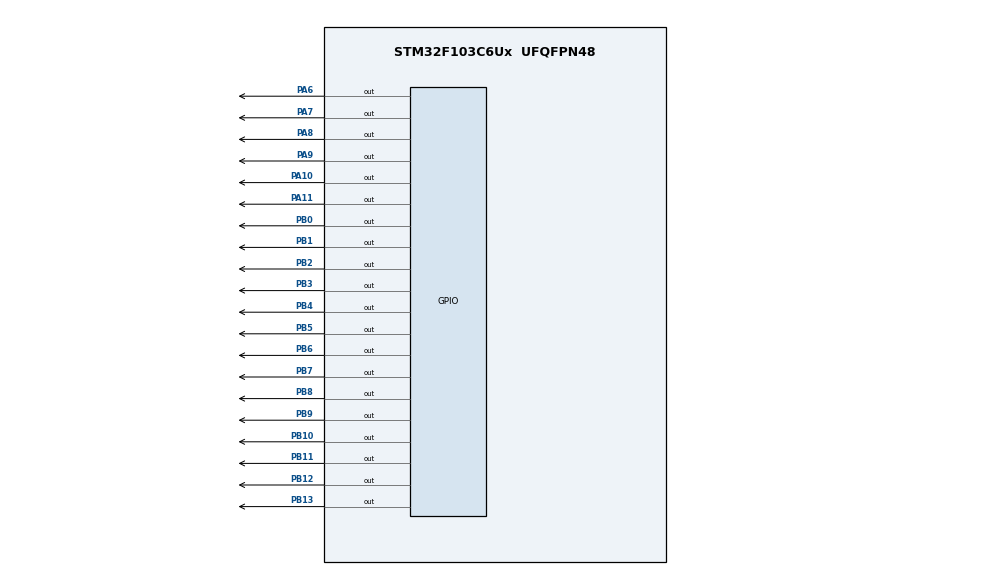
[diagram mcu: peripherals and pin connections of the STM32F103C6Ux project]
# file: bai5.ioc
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Mcu.Family=STM32F1
Mcu.Name=STM32F103C6Ux
Mcu.Package=UFQFPN48
NVIC.PriorityGroup=NVIC_PRIORITYGROUP_4
PA10.Signal=GPIO_Output
PA11.Signal=GPIO_Output
PA6.Signal=GPIO_Output
PA7.Signal=GPIO_Output
PA8.Signal=GPIO_Output
PA9.Signal=GPIO_Output
PB0.Signal=GPIO_Output
PB1.Signal=GPIO_Output
PB10.Signal=GPIO_Output
PB11.Signal=GPIO_Output
PB12.Signal=GPIO_Output
PB13.Signal=GPIO_Output
PB2.Signal=GPIO_Output
PB3.Signal=GPIO_Output
PB4.Signal=GPIO_Output
PB5.Signal=GPIO_Output
PB6.Signal=GPIO_Output
PB7.Signal=GPIO_Output
PB8.Signal=GPIO_Output
PB9.Signal=GPIO_Output
ProjectManager.HeapSize=0x200
ProjectManager.StackSize=0x400
ProjectManager.TargetToolchain=STM32CubeIDE
RCC.APB1Freq_Value=8000000
RCC.APB2Freq_Value=8000000
VP_SYS_VS_ND.Mode=No_Debug
board=custom

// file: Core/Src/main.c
/* USER CODE BEGIN Header */
/**
  ******************************************************************************
  * @file           : main.c
  * @brief          : Main program body
  ******************************************************************************
  * @attention

  *
  * <h2><center>&copy; Copyright (c) 2024 STMicroelectronics.
  * All rights reserved.</center></h2>
  *
  * This software component is licensed by ST under BSD 3-Clause license,
  * the "License"; You may not use this file except in compliance with the
  * License. You may obtain a copy of the License at:
  *                        opensource.org/licenses/BSD-3-Clause
  *
  ******************************************************************************
  */
/* USER CODE END Header */
#include "main.h"

void SystemClock_Config(void);
static void MX_GPIO_Init(void);

int countRed = 5, countYellow = 2, countGreen = 3 , huong = 1;
 void display7SEG_ngang(int num)
 {
	  if(num == 0)
	  {
		  HAL_GPIO_WritePin(GPIOB, GPIO_PIN_0, 0);
		  HAL_GPIO_WritePin(GPIOB, GPIO_PIN_1, 0);
		  HAL_GPIO_WritePin(GPIOB, GPIO_PIN_2, 0);
		  HAL_GPIO_WritePin(GPIOB, GPIO_PIN_3, 0);
		  HAL_GPIO_WritePin(GPIOB, GPIO_PIN_4, 0);
		  HAL_GPIO_WritePin(GPIOB, GPIO_PIN_5, 0);
		  HAL_GPIO_WritePin(GPIOB, GPIO_PIN_6, 1);
	  }
	  if(num == 1)
	  {
		  HAL_GPIO_WritePin(GPIOB, GPIO_PIN_0, 1);
		  HAL_GPIO_WritePin(GPIOB, GPIO_PIN_1, 0);
		  HAL_GPIO_WritePin(GPIOB, GPIO_PIN_2, 0);
		  HAL_GPIO_WritePin(GPIOB, GPIO_PIN_3, 1);
		  HAL_GPIO_WritePin(GPIOB, GPIO_PIN_4, 1);
		  HAL_GPIO_WritePin(GPIOB, GPIO_PIN_5, 1);
		  HAL_GPIO_WritePin(GPIOB, GPIO_PIN_6, 1);
	  }
	  if(num == 2)
	  	  {
	  		  HAL_GPIO_WritePin(GPIOB, GPIO_PIN_0, 0);
	  		  HAL_GPIO_WritePin(GPIOB, GPIO_PIN_1, 0);
	  		  HAL_GPIO_WritePin(GPIOB, GPIO_PIN_2, 1);
	  		  HAL_GPIO_WritePin(GPIOB, GPIO_PIN_3, 0);
	  		  HAL_GPIO_WritePin(GPIOB, GPIO_PIN_4, 0);
	  		  HAL_GPIO_WritePin(GPIOB, GPIO_PIN_5, 1);
	  		  HAL_GPIO_WritePin(GPIOB, GPIO_PIN_6, 0);
	  	  }
	  if(num == 3)
	  	  {
	  		  HAL_GPIO_WritePin(GPIOB, GPIO_PIN_0, 0);
	  		  HAL_GPIO_WritePin(GPIOB, GPIO_PIN_1, 0);
	  		  HAL_GPIO_WritePin(GPIOB, GPIO_PIN_2, 0);
	  		  HAL_GPIO_WritePin(GPIOB, GPIO_PIN_3, 0);
	  		  HAL_GPIO_WritePin(GPIOB, GPIO_PIN_4, 1);
	  		  HAL_GPIO_WritePin(GPIOB, GPIO_PIN_5, 1);
	  		  HAL_GPIO_WritePin(GPIOB, GPIO_PIN_6, 0);
	  	  }
	  if(num == 4)
	  	  {
	  		  HAL_GPIO_WritePin(GPIOB, GPIO_PIN_0, 1);
	  		  HAL_GPIO_WritePin(GPIOB, GPIO_PIN_1, 0);
	  		  HAL_GPIO_WritePin(GPIOB, GPIO_PIN_2, 0);
	  		  HAL_GPIO_WritePin(GPIOB, GPIO_PIN_3, 1);
	  		  HAL_GPIO_WritePin(GPIOB, GPIO_PIN_4, 1);
	  		  HAL_GPIO_WritePin(GPIOB, GPIO_PIN_5, 0);
	  		  HAL_GPIO_WritePin(GPIOB, GPIO_PIN_6, 0);
	  	  }
	  if(num == 5)
	  	  {
	  		  HAL_GPIO_WritePin(GPIOB, GPIO_PIN_0, 0);
	  		  HAL_GPIO_WritePin(GPIOB, GPIO_PIN_1, 1);
	  		  HAL_GPIO_WritePin(GPIOB, GPIO_PIN_2, 0);
	  		  HAL_GPIO_WritePin(GPIOB, GPIO_PIN_3, 0);
	  		  HAL_GPIO_WritePin(GPIOB, GPIO_PIN_4, 1);
	  		  HAL_GPIO_WritePin(GPIOB, GPIO_PIN_5, 0);
	  		  HAL_GPIO_WritePin(GPIOB, GPIO_PIN_6, 0);
	  	  }
	  if(num == 6)
	  	  {
	  		  HAL_GPIO_WritePin(GPIOB, GPIO_PIN_0, 0);
	  		  HAL_GPIO_WritePin(GPIOB, GPIO_PIN_1, 1);
	  		  HAL_GPIO_WritePin(GPIOB, GPIO_PIN_2, 0);
	  		  HAL_GPIO_WritePin(GPIOB, GPIO_PIN_3, 0);
	  		  HAL_GPIO_WritePin(GPIOB, GPIO_PIN_4, 0);
	  		  HAL_GPIO_WritePin(GPIOB, GPIO_PIN_5, 0);
	  		  HAL_GPIO_WritePin(GPIOB, GPIO_PIN_6, 0);
	  	  }
	  if(num == 7)
	  	  {
	  		  HAL_GPIO_WritePin(GPIOB, GPIO_PIN_0, 0);
	  		  HAL_GPIO_WritePin(GPIOB, GPIO_PIN_1, 0);
	  		  HAL_GPIO_WritePin(GPIOB, GPIO_PIN_2, 0);
	  		  HAL_GPIO_WritePin(GPIOB, GPIO_PIN_3, 1);
	  		  HAL_GPIO_WritePin(GPIOB, GPIO_PIN_4, 1);
	  		  HAL_GPIO_WritePin(GPIOB, GPIO_PIN_5, 1);
	  		  HAL_GPIO_WritePin(GPIOB, GPIO_PIN_6, 1);
	  	  }
	  if(num == 8)
	  	  {
	  		  HAL_GPIO_WritePin(GPIOB, GPIO_PIN_0, 0);
	  		  HAL_GPIO_WritePin(GPIOB, GPIO_PIN_1, 0);
	  		  HAL_GPIO_WritePin(GPIOB, GPIO_PIN_2, 0);
	  		  HAL_GPIO_WritePin(GPIOB, GPIO_PIN_3, 0);
	  		  HAL_GPIO_WritePin(GPIOB, GPIO_PIN_4, 0);
	  		  HAL_GPIO_WritePin(GPIOB, GPIO_PIN_5, 0);
	  		  HAL_GPIO_WritePin(GPIOB, GPIO_PIN_6, 0);
	  	  }
	  if(num == 9)
	  	  {
	  		  HAL_GPIO_WritePin(GPIOB, GPIO_PIN_0, 0);
	  		  HAL_GPIO_WritePin(GPIOB, GPIO_PIN_1, 0);
	  		  HAL_GPIO_WritePin(GPIOB, GPIO_PIN_2, 0);
	  		  HAL_GPIO_WritePin(GPIOB, GPIO_PIN_3, 0);
	  		  HAL_GPIO_WritePin(GPIOB, GPIO_PIN_4, 1);
	  		  HAL_GPIO_WritePin(GPIOB, GPIO_PIN_5, 0);
	  		  HAL_GPIO_WritePin(GPIOB, GPIO_PIN_6, 0);
	  	  }
 }

  	void display7SEG_doc(int num)
  	  {
  		  if(num == 0)
  		  {
  			  HAL_GPIO_WritePin(GPIOB, GPIO_PIN_7, 0);
  			  HAL_GPIO_WritePin(GPIOB, GPIO_PIN_8, 0);
  			  HAL_GPIO_WritePin(GPIOB, GPIO_PIN_9, 0);
  			  HAL_GPIO_WritePin(GPIOB, GPIO_PIN_10, 0);
  			  HAL_GPIO_WritePin(GPIOB, GPIO_PIN_11, 0);
  			  HAL_GPIO_WritePin(GPIOB, GPIO_PIN_12, 0);
  			  HAL_GPIO_WritePin(GPIOB, GPIO_PIN_13, 1);
  		  }
  		  if(num == 1)
  		  {
  			  HAL_GPIO_WritePin(GPIOB, GPIO_PIN_7, 1);
  			  HAL_GPIO_WritePin(GPIOB, GPIO_PIN_8, 0);
  			  HAL_GPIO_WritePin(GPIOB, GPIO_PIN_9, 0);
  			  HAL_GPIO_WritePin(GPIOB, GPIO_PIN_10, 1);
  			  HAL_GPIO_WritePin(GPIOB, GPIO_PIN_11, 1);
  			  HAL_GPIO_WritePin(GPIOB, GPIO_PIN_12, 1);
  			  HAL_GPIO_WritePin(GPIOB, GPIO_PIN_13, 1);
  		  }
  		  if(num == 2)
  		  	  {
  		  		  HAL_GPIO_WritePin(GPIOB, GPIO_PIN_7, 0);
  		  		  HAL_GPIO_WritePin(GPIOB, GPIO_PIN_8, 0);
  		  		  HAL_GPIO_WritePin(GPIOB, GPIO_PIN_9, 1);
  		  		  HAL_GPIO_WritePin(GPIOB, GPIO_PIN_10, 0);
  		  		  HAL_GPIO_WritePin(GPIOB, GPIO_PIN_11, 0);
  		  		  HAL_GPIO_WritePin(GPIOB, GPIO_PIN_12, 1);
  		  		  HAL_GPIO_WritePin(GPIOB, GPIO_PIN_13, 0);
  		  	  }
  		  if(num == 3)
  		  	  {
  		  		  HAL_GPIO_WritePin(GPIOB, GPIO_PIN_7, 0);
  		  		  HAL_GPIO_WritePin(GPIOB, GPIO_PIN_8, 0);
  		  		  HAL_GPIO_WritePin(GPIOB, GPIO_PIN_9, 0);
  		  		  HAL_GPIO_WritePin(GPIOB, GPIO_PIN_10, 0);
  		  		  HAL_GPIO_WritePin(GPIOB, GPIO_PIN_11, 1);
  		  		  HAL_GPIO_WritePin(GPIOB, GPIO_PIN_12, 1);
  		  		  HAL_GPIO_WritePin(GPIOB, GPIO_PIN_13, 0);
  		  	  }
  		  if(num == 4)
  		  	  {
  		  		  HAL_GPIO_WritePin(GPIOB, GPIO_PIN_7, 1);
  		  		  HAL_GPIO_WritePin(GPIOB, GPIO_PIN_8, 0);
  		  		  HAL_GPIO_WritePin(GPIOB, GPIO_PIN_9, 0);
  		  		  HAL_GPIO_WritePin(GPIOB, GPIO_PIN_10, 1);
  		  		  HAL_GPIO_WritePin(GPIOB, GPIO_PIN_11, 1);
  		  		  HAL_GPIO_WritePin(GPIOB, GPIO_PIN_12, 0);
  		  		  HAL_GPIO_WritePin(GPIOB, GPIO_PIN_13, 0);
  		  	  }
  		  if(num == 5)
  		  	  {
  		  		  HAL_GPIO_WritePin(GPIOB, GPIO_PIN_7, 0);
  		  		  HAL_GPIO_WritePin(GPIOB, GPIO_PIN_8, 1);
  		  		  HAL_GPIO_WritePin(GPIOB, GPIO_PIN_9, 0);
  		  		  HAL_GPIO_WritePin(GPIOB, GPIO_PIN_10, 0);
  		  		  HAL_GPIO_WritePin(GPIOB, GPIO_PIN_11, 1);
  		  		  HAL_GPIO_WritePin(GPIOB, GPIO_PIN_12, 0);
  		  		  HAL_GPIO_WritePin(GPIOB, GPIO_PIN_13, 0);
  		  	  }
  		  if(num == 6)
  		  	  {
  		  		  HAL_GPIO_WritePin(GPIOB, GPIO_PIN_7, 0);
  		  		  HAL_GPIO_WritePin(GPIOB, GPIO_PIN_8, 1);
  		  		  HAL_GPIO_WritePin(GPIOB, GPIO_PIN_9, 0);
  		  		  HAL_GPIO_WritePin(GPIOB, GPIO_PIN_10, 0);
  		  		  HAL_GPIO_WritePin(GPIOB, GPIO_PIN_11, 0);
  		  		  HAL_GPIO_WritePin(GPIOB, GPIO_PIN_12, 0);
  		  		  HAL_GPIO_WritePin(GPIOB, GPIO_PIN_13, 0);
  		  	  }
  		  if(num == 7)
  		  	  {
  		  		  HAL_GPIO_WritePin(GPIOB, GPIO_PIN_7, 0);
  		  		  HAL_GPIO_WritePin(GPIOB, GPIO_PIN_8, 0);
  		  		  HAL_GPIO_WritePin(GPIOB, GPIO_PIN_9, 0);
  		  		  HAL_GPIO_WritePin(GPIOB, GPIO_PIN_10, 1);
  		  		  HAL_GPIO_WritePin(GPIOB, GPIO_PIN_11, 1);
  		  		  HAL_GPIO_WritePin(GPIOB, GPIO_PIN_12, 1);
  		  		  HAL_GPIO_WritePin(GPIOB, GPIO_PIN_13, 1);
  		  	  }
  		  if(num == 8)
  		  	  {
  		  		  HAL_GPIO_WritePin(GPIOB, GPIO_PIN_7, 0);
  		  		  HAL_GPIO_WritePin(GPIOB, GPIO_PIN_8, 0);
  		  		  HAL_GPIO_WritePin(GPIOB, GPIO_PIN_9, 0);
  		  		  HAL_GPIO_WritePin(GPIOB, GPIO_PIN_10, 0);
  		  		  HAL_GPIO_WritePin(GPIOB, GPIO_PIN_11, 0);
  		  		  HAL_GPIO_WritePin(GPIOB, GPIO_PIN_12, 0);
  		  		  HAL_GPIO_WritePin(GPIOB, GPIO_PIN_13, 0);
  		  	  }
  		  if(num == 9)
  		  	  {
  		  		  HAL_GPIO_WritePin(GPIOB, GPIO_PIN_7, 0);
  		  		  HAL_GPIO_WritePin(GPIOB, GPIO_PIN_8, 0);
  		  		  HAL_GPIO_WritePin(GPIOB, GPIO_PIN_9, 0);
  		  		  HAL_GPIO_WritePin(GPIOB, GPIO_PIN_10, 0);
  		  		  HAL_GPIO_WritePin(GPIOB, GPIO_PIN_11, 1);
  		  		  HAL_GPIO_WritePin(GPIOB, GPIO_PIN_12, 0);
  		  		  HAL_GPIO_WritePin(GPIOB, GPIO_PIN_13, 0);
  		  	  }
  	  }

int main(void)
{

  /* MCU Configuration--------------------------------------------------------*/

  /* Reset of all peripherals, Initializes the Flash interface and the Systick. */
  HAL_Init();

  /* Configure the system clock */
  SystemClock_Config();

  /* Initialize all configured peripherals */
  MX_GPIO_Init();

  /* Infinite loop */
  /* USER CODE BEGIN WHILE */
  while (1)
  {
	  if( huong == 1)
	  	  {
	  		  if(countRed > 0)
	  		  {
	  			  display7SEG_ngang(countRed);
	  			  if (countRed >= 3 )
	  			  {
	  				  // Bật đèn đỏ cho đường ngang, xanh cho đường dọc
	  				  HAL_GPIO_WritePin(GPIOA, GPIO_PIN_10, GPIO_PIN_SET);
	  				  HAL_GPIO_WritePin(GPIOA, GPIO_PIN_9, GPIO_PIN_RESET);
	  				  HAL_GPIO_WritePin(GPIOA, GPIO_PIN_11, GPIO_PIN_RESET);

	  				  HAL_GPIO_WritePin(GPIOA, GPIO_PIN_8, GPIO_PIN_SET);
	  				  HAL_GPIO_WritePin(GPIOA, GPIO_PIN_7, GPIO_PIN_RESET);
	  				  HAL_GPIO_WritePin(GPIOA, GPIO_PIN_6, GPIO_PIN_RESET);
	  				  display7SEG_doc(countGreen);
	  				   countGreen--;
	  			  }
	  			  if(countRed < 3 && countRed >= 1)
	  			  {
	  				 // Bật đèn đ�? cho đư�?ng ngang, vàng cho đư�?ng d�?c
	  				  HAL_GPIO_WritePin(GPIOA, GPIO_PIN_10, GPIO_PIN_SET);
	  				  HAL_GPIO_WritePin(GPIOA, GPIO_PIN_9, GPIO_PIN_RESET);
	  				  HAL_GPIO_WritePin(GPIOA, GPIO_PIN_11, GPIO_PIN_RESET);

	  				  HAL_GPIO_WritePin(GPIOA, GPIO_PIN_6, GPIO_PIN_SET);
	  			      HAL_GPIO_WritePin(GPIOA, GPIO_PIN_7, GPIO_PIN_RESET);
	  		          HAL_GPIO_WritePin(GPIOA, GPIO_PIN_8, GPIO_PIN_RESET);
	  		          display7SEG_doc(countYellow);
	  		           countYellow--;
	  			  }
	  			  countRed--;

	  		  }
	  		  if (countYellow <= 0 )
	  		            {
	  		                countYellow = 2;
	  		            }
	  		            if (countGreen <= 0)
	  		            {
	  		                countGreen = 3;
	  		            }
	  		            if (countRed <= 0)
	  		            {
	  		                countRed = 5;
	  		                huong = 2;
	  		            }
	  	  }
	  	  else
	  	  {
	  		  if( countRed > 0)
	  		  {
	  			  display7SEG_doc(countRed);
	  			  if (countRed >= 3 )
	  			  {
	  				  // Bật đèn đ�? cho đư�?ng d�?c, xanh cho đư�?ng ngang
	  				  HAL_GPIO_WritePin(GPIOA, GPIO_PIN_7, GPIO_PIN_SET);
	  				  HAL_GPIO_WritePin(GPIOA, GPIO_PIN_6, GPIO_PIN_RESET);
	  				  HAL_GPIO_WritePin(GPIOA, GPIO_PIN_8, GPIO_PIN_RESET);

	  				  HAL_GPIO_WritePin(GPIOA, GPIO_PIN_11, GPIO_PIN_SET);
	  				  HAL_GPIO_WritePin(GPIOA, GPIO_PIN_9, GPIO_PIN_RESET);
	  				  HAL_GPIO_WritePin(GPIOA, GPIO_PIN_10, GPIO_PIN_RESET);
	  				  display7SEG_ngang(countGreen);
	  				   countGreen--;

	  			  }
	  			  if(countRed < 3 && countRed >= 1)
	  			  {
	  				  // Bật đèn đ�? cho đư�?ng d�?c, vàng cho đư�?ng ngang
	  				  HAL_GPIO_WritePin(GPIOA, GPIO_PIN_7, GPIO_PIN_SET);
	  				  HAL_GPIO_WritePin(GPIOA, GPIO_PIN_6, GPIO_PIN_RESET);
	  				  HAL_GPIO_WritePin(GPIOA, GPIO_PIN_8, GPIO_PIN_RESET);

	  				  HAL_GPIO_WritePin(GPIOA, GPIO_PIN_9, GPIO_PIN_SET);
	  				  HAL_GPIO_WritePin(GPIOA, GPIO_PIN_10, GPIO_PIN_RESET);
	  				  HAL_GPIO_WritePin(GPIOA, GPIO_PIN_11, GPIO_PIN_RESET);
	  				   display7SEG_ngang(countYellow);
	  				    countYellow--;
	  			  }
	  			  countRed--;

	  	      }
	  		  if (countYellow <= 0)
	  				            {
	  				                countYellow = 2;
	  				            }
	  				            if (countGreen <= 0)
	  				            {
	  				                countGreen = 3;
	  				            }
	  				            if (countRed <= 0)
	  				            {
	  				                countRed = 5;
	  				                huong = 1;
	  				            }

	       }

	  	  HAL_Delay(1000);

    /* USER CODE END WHILE */

  }
}

void SystemClock_Config(void)
{
  RCC_OscInitTypeDef RCC_OscInitStruct = {0};
  RCC_ClkInitTypeDef RCC_ClkInitStruct = {0};

  /** Initializes the RCC Oscillators according to the specified parameters
  * in the RCC_OscInitTypeDef structure.
  */
  RCC_OscInitStruct.OscillatorType = RCC_OSCILLATORTYPE_HSI;
  RCC_OscInitStruct.HSIState = RCC_HSI_ON;
  RCC_OscInitStruct.HSICalibrationValue = RCC_HSICALIBRATION_DEFAULT;
  RCC_OscInitStruct.PLL.PLLState = RCC_PLL_NONE;
  if (HAL_RCC_OscConfig(&RCC_OscInitStruct) != HAL_OK)
  {
    Error_Handler();
  }
  /** Initializes the CPU, AHB and APB buses clocks
  */
  RCC_ClkInitStruct.ClockType = RCC_CLOCKTYPE_HCLK|RCC_CLOCKTYPE_SYSCLK
                              |RCC_CLOCKTYPE_PCLK1|RCC_CLOCKTYPE_PCLK2;
  RCC_ClkInitStruct.SYSCLKSource = RCC_SYSCLKSOURCE_HSI;
  RCC_ClkInitStruct.AHBCLKDivider = RCC_SYSCLK_DIV1;
  RCC_ClkInitStruct.APB1CLKDivider = RCC_HCLK_DIV1;
  RCC_ClkInitStruct.APB2CLKDivider = RCC_HCLK_DIV1;

  if (HAL_RCC_ClockConfig(&RCC_ClkInitStruct, FLASH_LATENCY_0) != HAL_OK)
  {
    Error_Handler();
  }
}

static void MX_GPIO_Init(void)
{
  GPIO_InitTypeDef GPIO_InitStruct = {0};

  /* GPIO Ports Clock Enable */
  __HAL_RCC_GPIOA_CLK_ENABLE();
  __HAL_RCC_GPIOB_CLK_ENABLE();

  /*Configure GPIO pin Output Level */
  HAL_GPIO_WritePin(GPIOA, GPIO_PIN_6|GPIO_PIN_7|GPIO_PIN_8|GPIO_PIN_9
                          |GPIO_PIN_10|GPIO_PIN_11, GPIO_PIN_RESET);

  /*Configure GPIO pin Output Level */
  HAL_GPIO_WritePin(GPIOB, GPIO_PIN_0|GPIO_PIN_1|GPIO_PIN_2|GPIO_PIN_10
                          |GPIO_PIN_11|GPIO_PIN_12|GPIO_PIN_13|GPIO_PIN_3
                          |GPIO_PIN_4|GPIO_PIN_5|GPIO_PIN_6|GPIO_PIN_7
                          |GPIO_PIN_8|GPIO_PIN_9, GPIO_PIN_RESET);

  /*Configure GPIO pins : PA6 PA7 PA8 PA9
                           PA10 PA11 */
  GPIO_InitStruct.Pin = GPIO_PIN_6|GPIO_PIN_7|GPIO_PIN_8|GPIO_PIN_9
                          |GPIO_PIN_10|GPIO_PIN_11;
  GPIO_InitStruct.Mode = GPIO_MODE_OUTPUT_PP;
  GPIO_InitStruct.Pull = GPIO_NOPULL;
  GPIO_InitStruct.Speed = GPIO_SPEED_FREQ_LOW;
  HAL_GPIO_Init(GPIOA, &GPIO_InitStruct);

  /*Configure GPIO pins : PB0 PB1 PB2 PB10
                           PB11 PB12 PB13 PB3
                           PB4 PB5 PB6 PB7
                           PB8 PB9 */
  GPIO_InitStruct.Pin = GPIO_PIN_0|GPIO_PIN_1|GPIO_PIN_2|GPIO_PIN_10
                          |GPIO_PIN_11|GPIO_PIN_12|GPIO_PIN_13|GPIO_PIN_3
                          |GPIO_PIN_4|GPIO_PIN_5|GPIO_PIN_6|GPIO_PIN_7
                          |GPIO_PIN_8|GPIO_PIN_9;
  GPIO_InitStruct.Mode = GPIO_MODE_OUTPUT_PP;
  GPIO_InitStruct.Pull = GPIO_NOPULL;
  GPIO_InitStruct.Speed = GPIO_SPEED_FREQ_LOW;
  HAL_GPIO_Init(GPIOB, &GPIO_InitStruct);

}

void Error_Handler(void)
{
  __disable_irq();
  while (1)
  {
  }
}

/************************ (C) COPYRIGHT STMicroelectronics *****END OF FILE****/
